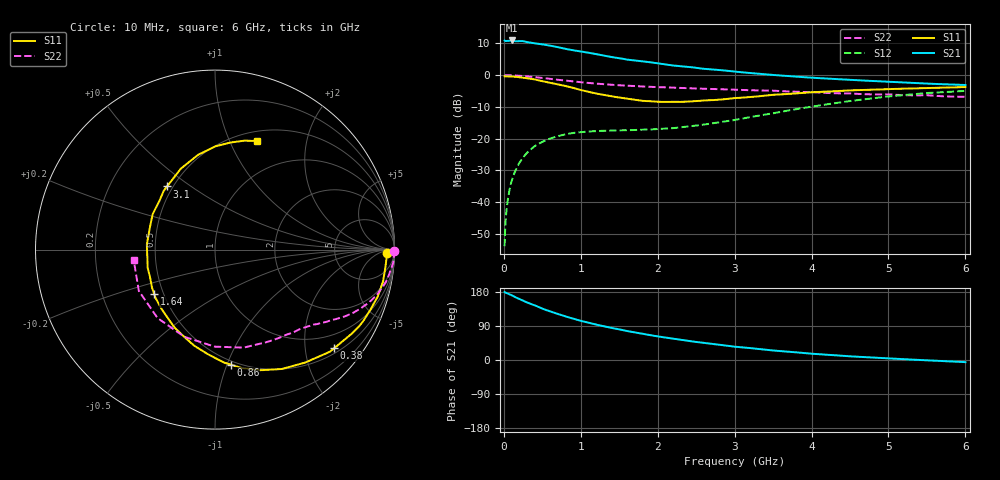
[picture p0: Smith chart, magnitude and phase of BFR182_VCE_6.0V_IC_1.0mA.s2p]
! (c) 2015  Infineon Technologies AG, Munich
! Infineon Technologies  Discrete & RF Semiconductors
! BFR182
! VCE =  6.0 V,  IC =  1.0 mA
! Common Emitter S-Parameters:  Nov 2015
# GHz  S  MA  R  50
!  f  S11  S21  S12  S22
! GHz  MAG  ANG  MAG  ANG  MAG  ANG  MAG  ANG
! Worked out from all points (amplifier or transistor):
!   210 points, 10 MHz to 6 GHz, reference 50 ohm
!   highest |S21| = 11.0 dB at 100 MHz (marker M1)
!   |S21| within 3 dB of that: start of sweep to 877.9 MHz
!   unconditionally stable (mu >= 1): 1.813 GHz to 3.293 GHz
!   at 185 MHz: K = 0.12, MSG = 19.6 dB, |S12| = -28.4 dB
!   at 1.52 GHz: K = 0.88, MSG = 11.3 dB, |S12| = -17.4 dB
!   at 6 GHz: K = 0.93, MSG = 0.9 dB, |S12| = -5.0 dB
!   S11 on the Smith chart (normalised r, x): 10 MHz: 37, -18; 380 MHz: 0.62, -2.65; 860 MHz: 0.47, -1.03; 1.64 GHz: 0.44, -0.27; 3.1 GHz: 0.47, +0.41; 6 GHz: 0.61, +1.27
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0.01  0.9576 -1.2  3.519 179.4  0.002 89.4  0.9984 -0.4
0.02  0.9581 -2.1  3.451 178.0  0.0044 85.2  0.9926 -0.9
0.035  0.9563 -3.7  3.458 176.7  0.0074 87.0  0.9947 -1.6
0.065  0.9537 -6.9  3.483 174.1  0.0136 85.9  0.9962 -2.8
0.1  0.9529 -10.7  3.528 171.1  0.0211 83.8  0.9952 -4.3
0.15  0.9436 -16.1  3.428 165.6  0.031 79.5  0.9865 -6.5
0.26  0.9103 -27.8  3.423 155.6  0.0519 72.9  0.9678 -11.0
0.38  0.862 -39.6  3.213 146.0  0.0722 66.1  0.9392 -15.2
0.5  0.8048 -51.5  3.068 135.4  0.0887 60.2  0.9046 -19.2
0.6  0.7621 -60.8  2.935 128.2  0.0999 55.5  0.8741 -22.1
0.7  0.7188 -69.2  2.765 121.6  0.1089 51.7  0.8462 -24.6
0.86  0.6471 -82.2  2.52 111.5  0.1202 46.4  0.8068 -27.7
1.02  0.5754 -95.6  2.345 102.4  0.1265 42.8  0.7692 -30.4
1.3  0.4889 -117.4  2.039 89.0  0.1326 39.2  0.7193 -34.5
1.64  0.4193 -143.9  1.739 75.1  0.1359 38.9  0.6788 -38.7
2.02  0.3797 -172.4  1.526 61.7  0.1418 42.9  0.6459 -43.6
2.4  0.3829 161.9  1.352 50.2  0.1545 49.0  0.6208 -49.5
3.1  0.4416 127.2  1.108 33.4  0.2069 56.4  0.5836 -63.4
4.1  0.5431 97.9  0.897 15.3  0.3321 53.3  0.531 -93.8
5.1  0.6072 80.4  0.774 3.1  0.4724 39.5  0.4893 -134.2
5.5  0.6287 74.9  0.734 -0.9  0.5224 32.8  0.4828 -151.6
6  0.6483 69.0  0.699 -5.6  0.5649 23.3  0.4566 -172.9
